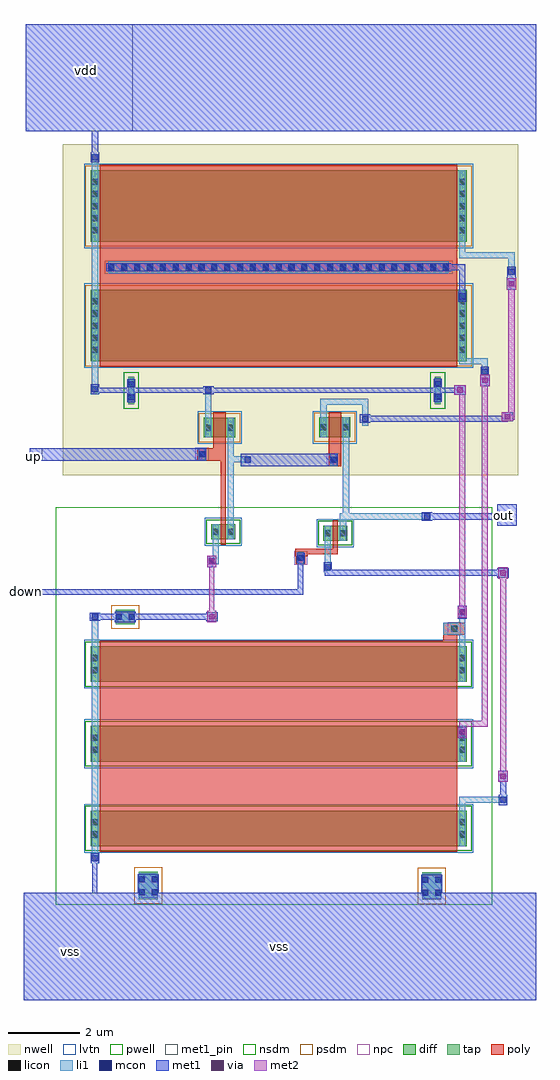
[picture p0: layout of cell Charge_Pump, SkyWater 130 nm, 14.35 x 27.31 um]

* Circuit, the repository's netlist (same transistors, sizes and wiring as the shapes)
***********************************************************
* CDL produced by pvsBuildNetlist on Jun 21 17:56:39 2026 *
***********************************************************


*pvsViewList = auCdl schematic
*pvsStopList = ("auCdl")
*pvsSimName  = auCdl



*.EXPAND_ON_M_FACTOR
*.MEGA



.subckt Charge_Pump down out up vdd vss
*PVSCELL netlisted from Epitaxc_new Charge_Pump schematic
  MNM0 net023 vdd vss vss nfet_01v8_lvt M=1 L=10u W=1u
  MNM2 net16 vdd vss vss nfet_01v8_lvt M=1 L=10u W=1u
  MNM3 vdd vdd vss vss nfet_01v8_lvt M=1 L=10u W=1u
  MNM6 out down net023 vss nfet_01v8_lvt M=1 L=150n W=420n
  MNM7 net24 up vss vss nfet_01v8_lvt M=1 L=150n W=420n
  MPM0 net021 net16 vdd vdd pfet_01v8_lvt M=1 L=10u W=2u
  MPM2 net16 net16 vdd vdd pfet_01v8_lvt M=1 L=10u W=2u
  MPM4 out net24 net021 vdd pfet_01v8_lvt M=1 L=350n W=550n
  MPM5 net24 up vdd vdd pfet_01v8_lvt M=1 L=350n W=550n
.ends Charge_Pump


***********************************************************
*             Completed at Jun 21 17:56:39 2026           *
***********************************************************

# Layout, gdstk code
import gdstk
lib = gdstk.Library(unit=1e-6, precision=1e-09)
def R(c, l, rs):  # rectangles x0, y0, x1, y1
    for r in rs: c.add(gdstk.rectangle(r[:2], r[2:], *l))
def A(c, l, x, y, w, h, nx, ny, dx, dy):  # array of equal rectangles
    R(c, l, [(x+i*dx, y+j*dy, x+i*dx+w, y+j*dy+h) for i in range(nx) for j in range(ny)])
nwell = (64, 20)
pwell = (64, 44)
diff = (65, 20)
tap = (65, 44)
poly = (66, 20)
licon = (66, 44)
li1 = (67, 20)
mcon = (67, 44)
met1_pin = (68, 16)
met1 = (68, 20)
via = (68, 44)
met2 = (69, 20)
nsdm = (93, 44)
psdm = (94, 20)
npc = (95, 20)
lvtn = (125, 44)

pfet_01v8_lvt__17 = lib.new_cell('pfet_01v8_lvt$$17')
R(pfet_01v8_lvt__17, nwell, [(-0.445,-0.18,10.445,2.18)])
R(pfet_01v8_lvt__17, diff, [(-0.265,0,0,2), (0,0,10,2), (10,0,10.265,2)])
R(pfet_01v8_lvt__17, poly, [(0,-0.15,10,-0.095), (0,-0.095,10,0), (0,0,10,2), (0,2,10,2.095), (0,2.095,10,2.15)])
A(pfet_01v8_lvt__17, licon, -0.225, 0.235, 0.17, 0.17, 1, 5, 0, 0.34)
A(pfet_01v8_lvt__17, licon, 10.055, 0.235, 0.17, 0.17, 1, 5, 0, 0.34)
R(pfet_01v8_lvt__17, li1, [(-0.225,0,-0.055,2), (10.055,0,10.225,2)])
R(pfet_01v8_lvt__17, psdm, [(-0.405,-0.13,10.405,2.13)])
R(pfet_01v8_lvt__17, lvtn, [(-0.445,-0.18,10.445,2.18)])
pfet_01v8_lvt__17.add(gdstk.Label('D_drain_1', (10.132,1), layer=65, texttype=20))
pfet_01v8_lvt__17.add(gdstk.Label('S_source_0', (-0.132,1), layer=65, texttype=20))
pfet_01v8_lvt__17.add(gdstk.Label('G_gate_1', (5,-0.122), layer=66, texttype=20))
pfet_01v8_lvt__17.add(gdstk.Label('G_gate_1', (5,2.122), layer=66, texttype=20))
pfet_01v8_lvt__17.add(gdstk.Label('D_drain_1', (10.14,1), layer=67, texttype=20))
pfet_01v8_lvt__17.add(gdstk.Label('S_source_0', (-0.14,1), layer=67, texttype=20))
pfet_01v8_lvt__17.add(gdstk.Label('B', (5,1), layer=64, texttype=20))

nfet_01v8_lvt__18 = lib.new_cell('nfet_01v8_lvt$$18')
R(nfet_01v8_lvt__18, diff, [(-0.265,0,0,1), (0,0,10,1), (10,0,10.265,1)])
R(nfet_01v8_lvt__18, poly, [(0,-0.15,10,-0.095), (0,-0.095,10,0), (0,0,10,1), (0,1,10,1.095), (0,1.095,10,1.15)])
R(nfet_01v8_lvt__18, licon, [(-0.225,0.245,-0.055,0.415), (10.055,0.245,10.225,0.415), (-0.225,0.585,-0.055,0.755), (10.055,0.585,10.225,0.755)])
R(nfet_01v8_lvt__18, li1, [(-0.225,0,-0.055,1), (10.055,0,10.225,1)])
R(nfet_01v8_lvt__18, nsdm, [(-0.405,-0.13,10.405,1.13)])
R(nfet_01v8_lvt__18, lvtn, [(-0.445,-0.18,10.445,1.18)])
nfet_01v8_lvt__18.add(gdstk.Label('D_drain_1', (10.132,0.5), layer=65, texttype=20))
nfet_01v8_lvt__18.add(gdstk.Label('S_source_0', (-0.132,0.5), layer=65, texttype=20))
nfet_01v8_lvt__18.add(gdstk.Label('G_gate_1', (5,-0.122), layer=66, texttype=20))
nfet_01v8_lvt__18.add(gdstk.Label('G_gate_1', (5,1.122), layer=66, texttype=20))
nfet_01v8_lvt__18.add(gdstk.Label('D_drain_1', (10.14,0.5), layer=67, texttype=20))
nfet_01v8_lvt__18.add(gdstk.Label('S_source_0', (-0.14,0.5), layer=67, texttype=20))

nfet_01v8_lvt__19 = lib.new_cell('nfet_01v8_lvt$$19')
R(nfet_01v8_lvt__19, diff, [(-0.265,0,0,0.42), (0,0,0.15,0.42), (0.15,0,0.415,0.42)])
R(nfet_01v8_lvt__19, poly, [(0,-0.15,0.15,-0.095), (0,-0.095,0.15,0), (0,0,0.15,0.42), (0,0.42,0.15,0.515), (0,0.515,0.15,0.57)])
R(nfet_01v8_lvt__19, licon, [(-0.225,0.125,-0.055,0.295), (0.205,0.125,0.375,0.295)])
R(nfet_01v8_lvt__19, li1, [(-0.225,0,-0.055,0.42), (0.205,0,0.375,0.42)])
R(nfet_01v8_lvt__19, nsdm, [(-0.405,-0.13,0.555,0.55)])
R(nfet_01v8_lvt__19, lvtn, [(-0.445,-0.18,0.595,0.6)])
nfet_01v8_lvt__19.add(gdstk.Label('D_drain_1', (0.282,0.21), layer=65, texttype=20))
nfet_01v8_lvt__19.add(gdstk.Label('S_source_0', (-0.132,0.21), layer=65, texttype=20))
nfet_01v8_lvt__19.add(gdstk.Label('G_gate_1', (0.075,-0.122), layer=66, texttype=20))
nfet_01v8_lvt__19.add(gdstk.Label('G_gate_1', (0.075,0.542), layer=66, texttype=20))
nfet_01v8_lvt__19.add(gdstk.Label('D_drain_1', (0.29,0.21), layer=67, texttype=20))
nfet_01v8_lvt__19.add(gdstk.Label('S_source_0', (-0.14,0.21), layer=67, texttype=20))

pfet_01v8_lvt__20 = lib.new_cell('pfet_01v8_lvt$$20')
R(pfet_01v8_lvt__20, nwell, [(-0.445,-0.18,0.795,0.73)])
R(pfet_01v8_lvt__20, diff, [(-0.265,0,0,0.55), (0,0,0.35,0.55), (0.35,0,0.615,0.55)])
R(pfet_01v8_lvt__20, poly, [(0,-0.15,0.35,-0.095), (0,-0.095,0.35,0), (0,0,0.35,0.55), (0,0.55,0.35,0.645), (0,0.645,0.35,0.7)])
R(pfet_01v8_lvt__20, licon, [(-0.225,0.19,-0.055,0.36), (0.405,0.19,0.575,0.36)])
R(pfet_01v8_lvt__20, li1, [(-0.225,0,-0.055,0.55), (0.405,0,0.575,0.55)])
R(pfet_01v8_lvt__20, psdm, [(-0.405,-0.13,0.755,0.68)])
R(pfet_01v8_lvt__20, lvtn, [(-0.445,-0.18,0.795,0.73)])
pfet_01v8_lvt__20.add(gdstk.Label('D_drain_1', (0.482,0.275), layer=65, texttype=20))
pfet_01v8_lvt__20.add(gdstk.Label('S_source_0', (-0.132,0.275), layer=65, texttype=20))
pfet_01v8_lvt__20.add(gdstk.Label('G_gate_1', (0.175,-0.122), layer=66, texttype=20))
pfet_01v8_lvt__20.add(gdstk.Label('G_gate_1', (0.175,0.672), layer=66, texttype=20))
pfet_01v8_lvt__20.add(gdstk.Label('D_drain_1', (0.49,0.275), layer=67, texttype=20))
pfet_01v8_lvt__20.add(gdstk.Label('S_source_0', (-0.14,0.275), layer=67, texttype=20))
pfet_01v8_lvt__20.add(gdstk.Label('B', (0.175,0.275), layer=64, texttype=20))

m1m2_c__1 = lib.new_cell('M1M2_C$$1')
R(m1m2_c__1, met1, [(-0.13,-0.16,0.13,0.16)])
R(m1m2_c__1, via, [(-0.075,-0.075,0.075,0.075)])
R(m1m2_c__1, met2, [(-0.13,-0.16,0.13,0.16)])

l1m1_c__2 = lib.new_cell('L1M1_C$$2')
R(l1m1_c__2, li1, [(-0.085,-0.085,0.085,0.085)])
R(l1m1_c__2, mcon, [(-0.085,-0.085,0.085,0.085)])
R(l1m1_c__2, met1, [(-0.115,-0.145,0.115,0.145)])

l1m1_c__3 = lib.new_cell('L1M1_C$$3')
R(l1m1_c__3, li1, [(-0.085,-0.085,0.085,0.085)])
R(l1m1_c__3, mcon, [(-0.085,-0.085,0.085,0.085)])
R(l1m1_c__3, met1, [(-0.115,-0.175,0.115,0.175)])

m1m2_c__4 = lib.new_cell('M1M2_C$$4')
R(m1m2_c__4, met1, [(-0.13,-0.185,0.13,0.185)])
R(m1m2_c__4, via, [(-0.075,-0.075,0.075,0.075)])
R(m1m2_c__4, met2, [(-0.13,-0.16,0.13,0.16)])

l1m1_c__5 = lib.new_cell('L1M1_C$$5')
R(l1m1_c__5, li1, [(-0.085,-0.085,0.085,0.085)])
R(l1m1_c__5, mcon, [(-0.085,-0.085,0.085,0.085)])
R(l1m1_c__5, met1, [(-0.115,-0.185,0.115,0.185)])

m1m2_c__6 = lib.new_cell('M1M2_C$$6')
R(m1m2_c__6, met1, [(-0.16,-0.13,0.16,0.13)])
R(m1m2_c__6, via, [(-0.075,-0.075,0.075,0.075)])
R(m1m2_c__6, met2, [(-0.16,-0.13,0.16,0.13)])

l1m1_c__7 = lib.new_cell('L1M1_C$$7')
R(l1m1_c__7, li1, [(-0.085,-0.085,0.085,0.085)])
R(l1m1_c__7, mcon, [(-0.085,-0.085,0.085,0.085)])
R(l1m1_c__7, met1, [(-0.13,-0.16,0.13,0.16)])

l1m1_c__8 = lib.new_cell('L1M1_C$$8')
R(l1m1_c__8, li1, [(-0.085,-0.085,0.085,0.085)])
R(l1m1_c__8, mcon, [(-0.085,-0.085,0.085,0.085)])
R(l1m1_c__8, met1, [(-0.145,-0.115,0.145,0.115)])

m1m2_c__9 = lib.new_cell('M1M2_C$$9')
R(m1m2_c__9, met1, [(-0.16,-0.13,0.16,0.13)])
R(m1m2_c__9, via, [(-0.075,-0.075,0.075,0.075)])
R(m1m2_c__9, met2, [(-0.13,-0.16,0.13,0.16)])

polyconn__10 = lib.new_cell('polyConn$$10')
R(polyconn__10, poly, [(-0.085,-0.175,0.085,0.175)])
R(polyconn__10, licon, [(-0.085,-0.085,0.085,0.085)])
R(polyconn__10, li1, [(-0.085,-0.165,0.085,0.165)])
R(polyconn__10, mcon, [(-0.085,-0.085,0.085,0.085)])
R(polyconn__10, met1, [(-0.115,-0.175,0.115,0.175)])
R(polyconn__10, npc, [(-0.185,-0.185,0.185,0.185)])

polyconn__11 = lib.new_cell('polyConn$$11')
R(polyconn__11, poly, [(-0.135,-0.165,0.135,0.165)])
R(polyconn__11, licon, [(-0.085,-0.085,0.085,0.085)])
R(polyconn__11, li1, [(-0.085,-0.165,0.085,0.165)])
R(polyconn__11, mcon, [(-0.085,-0.085,0.085,0.085)])
R(polyconn__11, met1, [(-0.115,-0.145,0.115,0.145)])
R(polyconn__11, npc, [(-0.185,-0.185,0.185,0.185)])

subtap__12 = lib.new_cell('subTap$$12')
R(subtap__12, tap, [(-0.265,-0.385,0.265,0.385)])
R(subtap__12, licon, [(-0.265,-0.265,-0.095,-0.095), (0.095,-0.265,0.265,-0.095), (-0.265,0.095,-0.095,0.265), (0.095,0.095,0.265,0.265)])
R(subtap__12, li1, [(-0.265,-0.345,0.265,0.345)])
R(subtap__12, mcon, [(-0.265,-0.265,-0.095,-0.095), (0.095,-0.265,0.265,-0.095), (-0.265,0.095,-0.095,0.265), (0.095,0.095,0.265,0.265)])
R(subtap__12, met1, [(-0.295,-0.325,0.295,0.325)])
R(subtap__12, psdm, [(-0.39,-0.51,0.39,0.51)])

nwelltap__13 = lib.new_cell('nwellTap$$13')
R(nwelltap__13, nwell, [(-0.265,-0.565,0.265,0.565)])
R(nwelltap__13, tap, [(-0.085,-0.385,0.085,0.385)])
R(nwelltap__13, licon, [(-0.085,-0.265,0.085,-0.095), (-0.085,0.095,0.085,0.265)])
R(nwelltap__13, li1, [(-0.085,-0.345,0.085,0.345)])
R(nwelltap__13, mcon, [(-0.085,-0.265,0.085,-0.095), (-0.085,0.095,0.085,0.265)])
R(nwelltap__13, met1, [(-0.115,-0.325,0.115,0.325)])
R(nwelltap__13, nsdm, [(-0.21,-0.51,0.21,0.51)])

subtap__14 = lib.new_cell('subTap$$14')
R(subtap__14, tap, [(-0.265,-0.205,0.265,0.205)])
R(subtap__14, licon, [(-0.265,-0.085,-0.095,0.085), (0.095,-0.085,0.265,0.085)])
R(subtap__14, li1, [(-0.265,-0.165,0.265,0.165)])
R(subtap__14, mcon, [(-0.265,-0.085,-0.095,0.085), (0.095,-0.085,0.265,0.085)])
R(subtap__14, met1, [(-0.295,-0.145,0.295,0.145)])
R(subtap__14, psdm, [(-0.39,-0.33,0.39,0.33)])

polyconn__15 = lib.new_cell('polyConn$$15')
R(polyconn__15, poly, [(-5,-0.085,5,0.085)])
A(polyconn__15, licon, -4.765, -0.085, 0.17, 0.17, 27, 1, 0.36, 0)
R(polyconn__15, li1, [(-4.765,-0.165,4.765,0.165)])
A(polyconn__15, mcon, -4.765, -0.085, 0.17, 0.17, 27, 1, 0.36, 0)
R(polyconn__15, met1, [(-4.825,-0.115,4.825,0.115)])
R(polyconn__15, npc, [(-4.865,-0.185,4.865,0.185)])

pyl1con_c__16 = lib.new_cell('PYL1CON_C$$16')
R(pyl1con_c__16, poly, [(-0.135,-0.165,0.135,0.165)])
R(pyl1con_c__16, licon, [(-0.085,-0.085,0.085,0.085)])
R(pyl1con_c__16, npc, [(-0.185,-0.185,0.185,0.185)])

charge_pump = lib.new_cell('Charge_Pump')
R(charge_pump, nwell, [(6.645,16.215,18.39,25.48), (18.35,16.215,19.38,25.475), (18.35,25.475,19.38,25.48)])
R(charge_pump, pwell, [(6.44,4.2,18.65,15.325)])
R(charge_pump, poly, [(17.42,11.565,17.68,11.785), (17.285,11.75,17.905,12.09), (13.15,13.95,13.5,14.16), (10.4,16.63,10.655,16.98)])
R(charge_pump, li1, [(17.285,11.75,17.905,12.09)])
R(charge_pump, met1_pin, [(5.545,1.535,19.89,4.535), (5.545,12.88,5.695,13.03), (18.8,14.805,19.345,15.4), (5.71,16.63,6.06,16.98), (5.6,25.845,8.6,28.845)])
R(charge_pump, met1, [(5.545,1.535,19.89,4.535), (18.8,14.805,19.345,15.4), (19.065,21.7,19.325,21.765)])
charge_pump.add(gdstk.FlexPath([(14.25,16.65),(14.215,16.65)], 0.35, ends=(0.175, 0), simple_path=True, layer=66, datatype=20))  # poly
charge_pump.add(gdstk.FlexPath([(14.25,17.135),(14.25,16.65)], 0.35, ends=(0, 0.175), simple_path=True, layer=66, datatype=20))  # poly
charge_pump.add(gdstk.FlexPath([(13.295,14.085),(13.295,14.045)], 0.15, ends=(0.075, 0), simple_path=True, layer=66, datatype=20))  # poly
charge_pump.add(gdstk.FlexPath([(14.265,14.085),(13.295,14.085)], 0.15, ends="extended", simple_path=True, layer=66, datatype=20))  # poly
charge_pump.add(gdstk.FlexPath([(11.13,14.995),(11.13,17.125)], 0.15, ends="flush", simple_path=True, layer=66, datatype=20))  # poly
charge_pump.add(gdstk.FlexPath([(11.03,16.805),(10.535,16.805)], 0.35, ends=(0.175, 0), simple_path=True, layer=66, datatype=20))  # poly
charge_pump.add(gdstk.FlexPath([(12.68,22.035),(12.68,21.555)], 10, ends="flush", simple_path=True, layer=66, datatype=20))  # poly
charge_pump.add(gdstk.FlexPath([(12.68,6.985),(12.68,8.055)], 10, ends="flush", simple_path=True, layer=66, datatype=20))  # poly
charge_pump.add(gdstk.FlexPath([(17.36,12.09),(17.36,11.47)], 0.15, ends=(0, 0.075), simple_path=True, layer=66, datatype=20))  # poly
charge_pump.add(gdstk.FlexPath([(17.68,9.68),(12.68,9.68)], 0.17, ends=(0, 5), simple_path=True, layer=66, datatype=20))  # poly
charge_pump.add(gdstk.FlexPath([(12.68,9.355),(12.68,10.285)], 10, ends="flush", simple_path=True, layer=66, datatype=20))  # poly
charge_pump.add(gdstk.FlexPath([(14.265,14.24),(14.265,14.085)], 0.15, ends=(0, 0.075), simple_path=True, layer=66, datatype=20))  # poly
charge_pump.add(gdstk.FlexPath([(17.36,11.47),(17.325,11.47)], 0.15, ends=(0.075, 0), simple_path=True, layer=66, datatype=20))  # poly
charge_pump.add(gdstk.FlexPath([(11.03,17.125),(11.03,16.805)], 0.35, ends=(0, 0.175), simple_path=True, layer=66, datatype=20))  # poly
charge_pump.add(gdstk.FlexPath([(12.68,22.6),(12.68,22.035)], 10, ends="flush", simple_path=True, layer=66, datatype=20))  # poly
charge_pump.add(gdstk.FlexPath([(7.54,11.435),(7.54,12.26)], 0.17, ends="flush", simple_path=True, layer=67, datatype=20))  # li1
charge_pump.add(gdstk.FlexPath([(10.715,17.825),(10.715,18.6)], 0.17, ends="flush", simple_path=True, layer=67, datatype=20))  # li1
charge_pump.add(gdstk.FlexPath([(7.54,19.49),(7.455,19.49)], 0.17, ends=(0.085, 0), simple_path=True, layer=67, datatype=20))  # li1
charge_pump.add(gdstk.FlexPath([(15.1,17.685),(15.11,17.685)], 0.17, ends=(0.085, 0), simple_path=True, layer=67, datatype=20))  # li1
charge_pump.add(gdstk.FlexPath([(15.1,17.805),(15.1,17.685)], 0.17, ends=(0, 0.085), simple_path=True, layer=67, datatype=20))  # li1
charge_pump.add(gdstk.FlexPath([(15.1,18.275),(15.1,17.805)], 0.17, ends=(0.085, 0), simple_path=True, layer=67, datatype=20))  # li1
charge_pump.add(gdstk.FlexPath([(17.82,7.135),(18.96,7.135)], 0.17, ends=(0.085, 0), simple_path=True, layer=67, datatype=20))  # li1
charge_pump.add(gdstk.FlexPath([(17.82,6.835),(17.82,7.135)], 0.17, ends=(0, 0.085), simple_path=True, layer=67, datatype=20))  # li1
charge_pump.add(gdstk.FlexPath([(13.935,17.835),(13.935,18.275)], 0.17, ends=(0, 0.085), simple_path=True, layer=67, datatype=20))  # li1
charge_pump.add(gdstk.FlexPath([(13.935,18.275),(15.1,18.275)], 0.17, ends="extended", simple_path=True, layer=67, datatype=20))  # li1
charge_pump.add(gdstk.FlexPath([(19.195,22.38),(19.195,21.91)], 0.17, ends=(0.085, 0), simple_path=True, layer=67, datatype=20))  # li1
charge_pump.add(gdstk.FlexPath([(17.82,22.38),(19.195,22.38)], 0.17, ends="extended", simple_path=True, layer=67, datatype=20))  # li1
charge_pump.add(gdstk.FlexPath([(17.82,22.75),(17.82,22.38)], 0.17, ends=(0, 0.085), simple_path=True, layer=67, datatype=20))  # li1
charge_pump.add(gdstk.FlexPath([(18.45,19.405),(18.45,19.11)], 0.17, ends=(0.085, 0), simple_path=True, layer=67, datatype=20))  # li1
charge_pump.add(gdstk.FlexPath([(17.82,19.405),(18.45,19.405)], 0.17, ends="extended", simple_path=True, layer=67, datatype=20))  # li1
charge_pump.add(gdstk.FlexPath([(14.565,15.065),(16.835,15.065)], 0.17, ends="extended", simple_path=True, layer=67, datatype=20))  # li1
charge_pump.add(gdstk.FlexPath([(14.48,15.065),(14.48,14.81)], 0.17, ends=(0.085, 0), simple_path=True, layer=67, datatype=20))  # li1
charge_pump.add(gdstk.FlexPath([(7.54,18.625),(7.54,19.49)], 0.17, ends=(0, 0.085), simple_path=True, layer=67, datatype=20))  # li1
charge_pump.add(gdstk.FlexPath([(17.82,11.435),(17.82,12.385)], 0.17, ends="flush", simple_path=True, layer=67, datatype=20))  # li1
charge_pump.add(gdstk.FlexPath([(10.915,13.81),(10.915,14.425)], 0.17, ends=(0.085, 0), simple_path=True, layer=67, datatype=20))  # li1
charge_pump.add(gdstk.FlexPath([(14.05,14.39),(14.05,13.635)], 0.17, ends=(0, 0.085), simple_path=True, layer=67, datatype=20))  # li1
charge_pump.add(gdstk.FlexPath([(14.05,13.635),(14.07,13.635)], 0.17, ends=(0.085, 0), simple_path=True, layer=67, datatype=20))  # li1
charge_pump.add(gdstk.FlexPath([(11.345,16.665),(11.345,14.845)], 0.17, ends=(0.085, 0), simple_path=True, layer=67, datatype=20))  # li1
charge_pump.add(gdstk.FlexPath([(11.345,16.665),(11.815,16.665)], 0.17, ends="extended", simple_path=True, layer=67, datatype=20))  # li1
charge_pump.add(gdstk.FlexPath([(11.815,16.665),(11.815,16.65)], 0.17, ends=(0.085, 0), simple_path=True, layer=67, datatype=20))  # li1
charge_pump.add(gdstk.FlexPath([(7.54,5.835),(7.54,5.5)], 0.17, ends="flush", simple_path=True, layer=67, datatype=20))  # li1
charge_pump.add(gdstk.FlexPath([(7.54,8.205),(7.54,6.835)], 0.17, ends="flush", simple_path=True, layer=67, datatype=20))  # li1
charge_pump.add(gdstk.FlexPath([(7.54,10.435),(7.54,9.205)], 0.17, ends="flush", simple_path=True, layer=67, datatype=20))  # li1
charge_pump.add(gdstk.FlexPath([(7.54,24.75),(7.54,25.115)], 0.17, ends="flush", simple_path=True, layer=67, datatype=20))  # li1
charge_pump.add(gdstk.FlexPath([(7.54,22.835),(7.455,22.835)], 0.17, ends=(0.085, 0), simple_path=True, layer=67, datatype=20))  # li1
charge_pump.add(gdstk.FlexPath([(7.54,21.405),(7.54,22.835)], 0.17, ends=(0, 0.085), simple_path=True, layer=67, datatype=20))  # li1
charge_pump.add(gdstk.FlexPath([(17.82,21.405),(17.82,21.22)], 0.17, ends="flush", simple_path=True, layer=67, datatype=20))  # li1
charge_pump.add(gdstk.FlexPath([(14.565,17.285),(14.565,15.065)], 0.17, ends=(0, 0.085), simple_path=True, layer=67, datatype=20))  # li1
charge_pump.add(gdstk.FlexPath([(11.345,17.275),(11.345,16.665)], 0.17, ends=(0, 0.085), simple_path=True, layer=67, datatype=20))  # li1
charge_pump.add(gdstk.FlexPath([(14.565,15.065),(14.48,15.065)], 0.17, ends="extended", simple_path=True, layer=67, datatype=20))  # li1
charge_pump.add(gdstk.FlexPath([(10.81,13.81),(10.915,13.81)], 0.17, ends=(0, 0.085), simple_path=True, layer=67, datatype=20))  # li1
charge_pump.add(gdstk.FlexPath([(10.81,12.26),(10.97,12.26)], 0.17, ends="flush", simple_path=True, layer=68, datatype=20))  # met1
charge_pump.add(gdstk.FlexPath([(7.54,12.26),(10.81,12.26)], 0.17, ends="flush", simple_path=True, layer=68, datatype=20))  # met1
charge_pump.add(gdstk.FlexPath([(13.295,12.955),(5.545,12.955)], 0.15, ends=(0.075, 0), simple_path=True, layer=68, datatype=20))  # met1
charge_pump.add(gdstk.FlexPath([(17.755,18.6),(10.715,18.6)], 0.14, ends="flush", simple_path=True, layer=68, datatype=20))  # met1
charge_pump.add(gdstk.FlexPath([(11.815,16.65),(11.625,16.65)], 0.35, ends="flush", simple_path=True, layer=68, datatype=20))  # met1
charge_pump.add(gdstk.FlexPath([(10.535,16.805),(5.71,16.805)], 0.35, ends="flush", simple_path=True, layer=68, datatype=20))  # met1
charge_pump.add(gdstk.FlexPath([(13.295,14.045),(13.295,12.955)], 0.15, ends=(0, 0.075), simple_path=True, layer=68, datatype=20))  # met1
charge_pump.add(gdstk.FlexPath([(14.05,13.645),(14.05,13.745)], 0.17, ends="flush", simple_path=True, layer=68, datatype=20))  # met1
charge_pump.add(gdstk.FlexPath([(18.96,13.485),(14.05,13.485)], 0.17, ends=(0, 0.085), simple_path=True, layer=68, datatype=20))  # met1
charge_pump.add(gdstk.FlexPath([(18.96,7.135),(18.96,7.795)], 0.17, ends="flush", simple_path=True, layer=68, datatype=20))  # met1
charge_pump.add(gdstk.FlexPath([(19.085,17.805),(15.1,17.805)], 0.17, ends="flush", simple_path=True, layer=68, datatype=20))  # met1
charge_pump.add(gdstk.FlexPath([(19.195,21.91),(19.195,21.575)], 0.17, ends="flush", simple_path=True, layer=68, datatype=20))  # met1
charge_pump.add(gdstk.FlexPath([(18.45,19.11),(18.45,18.875)], 0.17, ends="flush", simple_path=True, layer=68, datatype=20))  # met1
charge_pump.add(gdstk.FlexPath([(16.835,15.065),(18.805,15.065)], 0.17, ends=(0.085, 0), simple_path=True, layer=68, datatype=20))  # met1
charge_pump.add(gdstk.FlexPath([(7.53,18.6),(7.53,18.625)], 0.14, ends=(0.07, 0), simple_path=True, layer=68, datatype=20))  # met1
charge_pump.add(gdstk.FlexPath([(10.715,18.6),(7.53,18.6)], 0.14, ends=(0, 0.07), simple_path=True, layer=68, datatype=20))  # met1
charge_pump.add(gdstk.FlexPath([(17.82,22.035),(12.68,22.035)], 0.17, ends=(0.085, 0), simple_path=True, layer=68, datatype=20))  # met1
charge_pump.add(gdstk.FlexPath([(17.82,21.22),(17.82,22.035)], 0.17, ends=(0, 0.085), simple_path=True, layer=68, datatype=20))  # met1
charge_pump.add(gdstk.FlexPath([(17.82,12.385),(17.82,12.27)], 0.26, ends=(0.185, 0.07), simple_path=True, layer=68, datatype=20))  # met1
charge_pump.add(gdstk.FlexPath([(7.54,5.5),(7.54,3.855)], 0.14, ends="flush", simple_path=True, layer=68, datatype=20))  # met1
charge_pump.add(gdstk.FlexPath([(7.54,26.025),(7.59,26.025)], 0.17, ends=(0.085, 0), simple_path=True, layer=68, datatype=20))  # met1
charge_pump.add(gdstk.FlexPath([(7.54,25.115),(7.54,26.025)], 0.17, ends=(0, 0.085), simple_path=True, layer=68, datatype=20))  # met1
charge_pump.add(gdstk.FlexPath([(5.6,27.345),(19.89,27.345)], 3, ends="flush", simple_path=True, layer=68, datatype=20))  # met1
charge_pump.add(gdstk.FlexPath([(14.215,16.65),(11.815,16.65)], 0.35, ends="flush", simple_path=True, layer=68, datatype=20))  # met1
charge_pump.add(gdstk.FlexPath([(14.05,13.485),(14.05,13.645)], 0.17, ends=(0.085, 0), simple_path=True, layer=68, datatype=20))  # met1
charge_pump.add(gdstk.FlexPath([(18.96,7.795),(18.96,13.485)], 0.17, ends="flush", simple_path=True, layer=69, datatype=20))  # met2
charge_pump.add(gdstk.FlexPath([(19.195,17.855),(19.085,17.855)], 0.17, ends=(0.085, 0), simple_path=True, layer=69, datatype=20))  # met2
charge_pump.add(gdstk.FlexPath([(19.195,21.575),(19.195,17.855)], 0.17, ends=(0, 0.085), simple_path=True, layer=69, datatype=20))  # met2
charge_pump.add(gdstk.FlexPath([(17.82,9.27),(17.82,9.025)], 0.17, ends=(0.085, 0), simple_path=True, layer=69, datatype=20))  # met2
charge_pump.add(gdstk.FlexPath([(18.45,9.27),(17.82,9.27)], 0.17, ends="extended", simple_path=True, layer=69, datatype=20))  # met2
charge_pump.add(gdstk.FlexPath([(18.45,18.875),(18.45,9.27)], 0.17, ends=(0, 0.085), simple_path=True, layer=69, datatype=20))  # met2
charge_pump.add(gdstk.FlexPath([(10.81,12.26),(10.81,13.81)], 0.14, ends="flush", simple_path=True, layer=69, datatype=20))  # met2
charge_pump.add(gdstk.FlexPath([(17.82,18.6),(17.755,18.6)], 0.17, ends=(0.085, 0), simple_path=True, layer=69, datatype=20))  # met2
charge_pump.add(gdstk.FlexPath([(17.82,12.25),(17.82,18.6)], 0.17, ends=(0, 0.085), simple_path=True, layer=69, datatype=20))  # met2
charge_pump.add(gdstk.Reference(pfet_01v8_lvt__17, (7.68,19.405)))
charge_pump.add(gdstk.Reference(pfet_01v8_lvt__17, (7.68,22.75)))
charge_pump.add(gdstk.Reference(nfet_01v8_lvt__18, (7.68,10.435)))
charge_pump.add(gdstk.Reference(nfet_01v8_lvt__18, (7.68,8.205)))
charge_pump.add(gdstk.Reference(nfet_01v8_lvt__18, (7.68,5.835)))
charge_pump.add(gdstk.Reference(nfet_01v8_lvt__19, (11.055,14.425)))
charge_pump.add(gdstk.Reference(nfet_01v8_lvt__19, (14.19,14.39)))
charge_pump.add(gdstk.Reference(pfet_01v8_lvt__20, (10.855,17.275)))
charge_pump.add(gdstk.Reference(pfet_01v8_lvt__20, (14.075,17.285)))
charge_pump.add(gdstk.Reference(m1m2_c__1, (10.81,13.81)))
charge_pump.add(gdstk.Reference(m1m2_c__1, (18.96,7.795)))
charge_pump.add(gdstk.Reference(m1m2_c__1, (19.195,21.575)))
charge_pump.add(gdstk.Reference(m1m2_c__1, (17.82,9.025)))
charge_pump.add(gdstk.Reference(m1m2_c__1, (18.45,18.875)))
charge_pump.add(gdstk.Reference(l1m1_c__2, (17.82,21.22)))
charge_pump.add(gdstk.Reference(l1m1_c__2, (7.54,18.625)))
charge_pump.add(gdstk.Reference(l1m1_c__2, (14.05,13.645)))
charge_pump.add(gdstk.Reference(l1m1_c__2, (18.96,7.135)))
charge_pump.add(gdstk.Reference(l1m1_c__2, (19.195,21.91)))
charge_pump.add(gdstk.Reference(l1m1_c__2, (18.45,19.11)))
charge_pump.add(gdstk.Reference(l1m1_c__2, (7.54,5.5)))
charge_pump.add(gdstk.Reference(l1m1_c__2, (7.54,25.115)))
charge_pump.add(gdstk.Reference(l1m1_c__3, (11.815,16.65)))
charge_pump.add(gdstk.Reference(m1m2_c__4, (17.82,12.385)))
charge_pump.add(gdstk.Reference(l1m1_c__5, (17.82,12.385)))
charge_pump.add(gdstk.Reference(m1m2_c__6, (19.085,17.855)))
charge_pump.add(gdstk.Reference(m1m2_c__6, (17.755,18.6)))
charge_pump.add(gdstk.Reference(l1m1_c__7, (10.81,13.81)))
charge_pump.add(gdstk.Reference(l1m1_c__7, (17.82,9.025)))
charge_pump.add(gdstk.Reference(l1m1_c__8, (7.54,12.26)))
charge_pump.add(gdstk.Reference(l1m1_c__8, (15.1,17.805)))
charge_pump.add(gdstk.Reference(l1m1_c__8, (10.715,18.6)))
charge_pump.add(gdstk.Reference(l1m1_c__8, (16.835,15.065)))
charge_pump.add(gdstk.Reference(m1m2_c__9, (10.81,12.26)))
charge_pump.add(gdstk.Reference(m1m2_c__9, (10.81,12.26)))
charge_pump.add(gdstk.Reference(m1m2_c__9, (18.96,13.485)))
charge_pump.add(gdstk.Reference(polyconn__10, (14.215,16.65)))
charge_pump.add(gdstk.Reference(polyconn__10, (10.535,16.805)))
charge_pump.add(gdstk.Reference(polyconn__11, (13.295,13.905)))
charge_pump.add(gdstk.Reference(subtap__12, (9.03,4.735)))
charge_pump.add(gdstk.Reference(subtap__12, (16.96,4.72)))
charge_pump.add(gdstk.Reference(nwelltap__13, (17.13,18.595)))
charge_pump.add(gdstk.Reference(nwelltap__13, (8.555,18.585)))
charge_pump.add(gdstk.Reference(subtap__14, (8.385,12.255)))
charge_pump.add(gdstk.Reference(polyconn__15, (12.68,22.035)))
charge_pump.add(gdstk.Reference(pyl1con_c__16, (17.59,11.925)))
charge_pump.add(gdstk.Label('out', (18.985,15.09), layer=68, texttype=16))
charge_pump.add(gdstk.Label('out', (19.072,15.102), layer=68, texttype=16))
charge_pump.add(gdstk.Label('vdd', (7.315,27.55), layer=68, texttype=16))
charge_pump.add(gdstk.Label('down', (5.62,12.955), layer=68, texttype=16))
charge_pump.add(gdstk.Label('up', (5.83,16.735), layer=68, texttype=16))
charge_pump.add(gdstk.Label('vss', (6.845,2.885), layer=68, texttype=16))
charge_pump.add(gdstk.Label('vss', (12.717,3.035), layer=68, texttype=16))
charge_pump.add(gdstk.Label('up', (5.885,16.805), layer=68, texttype=16))
charge_pump.add(gdstk.Label('down', (5.705,12.965), layer=68, texttype=16))
charge_pump.add(gdstk.Label('vdd', (7.1,27.345), layer=68, texttype=16))

lib.write_gds('Charge_Pump.gds')
